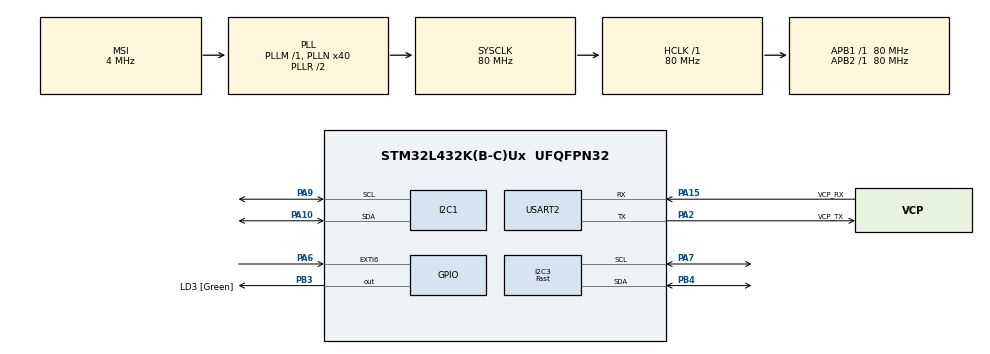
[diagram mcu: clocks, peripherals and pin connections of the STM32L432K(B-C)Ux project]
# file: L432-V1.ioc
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FREERTOS.Mutexes01=i2c1_mutex,Dynamic,NULL;i2c3_mutex,Dynamic,NULL
FREERTOS.Tasks01=screenTask,-2,128,StartScreenTask,Default,NULL,Dynamic,NULL,NULL;inputTask,0,128,StartInputTask,Default,NULL,Dynamic,NULL,NULL
FREERTOS.configENABLE_BACKWARD_COMPATIBILITY=0
FREERTOS.configMAX_PRIORITIES=5
FREERTOS.configUSE_PREEMPTION=0
I2C3.I2C_Speed_Mode=I2C_Fast
I2C3.Timing=0x00702991
Mcu.Family=STM32L4
Mcu.Name=STM32L432K(B-C)Ux
Mcu.Package=UFQFPN32
NVIC.EXTI9_5_IRQn=true\:5\:0\:false\:false\:true\:true\:true\:true
NVIC.PriorityGroup=NVIC_PRIORITYGROUP_4
NVIC.TIM1_UP_TIM16_IRQn=true\:0\:0\:false\:false\:true\:false\:false\:true
NVIC.TimeBase=TIM1_UP_TIM16_IRQn
NVIC.TimeBaseIP=TIM16
PA0.GPIO_Label=MCO [High speed clock in]
PA0.Mode=HSE-External-Clock-Source-for-LittleOrca
PA0.Signal=RCC_CK_IN
PA10.Mode=I2C
PA10.Signal=I2C1_SDA
PA13\ (JTMS-SWDIO).GPIO_Label=SWDIO
PA13\ (JTMS-SWDIO).Mode=Serial_Wire
PA13\ (JTMS-SWDIO).Signal=SYS_JTMS-SWDIO
PA14\ (JTCK-SWCLK).GPIO_Label=SWCLK
PA14\ (JTCK-SWCLK).Mode=Serial_Wire
PA14\ (JTCK-SWCLK).Signal=SYS_JTCK-SWCLK
PA15\ (JTDI).GPIO_Label=VCP_RX
PA15\ (JTDI).Mode=Asynchronous
PA15\ (JTDI).Signal=USART2_RX
PA2.GPIO_Label=VCP_TX
PA2.Mode=Asynchronous
PA2.Signal=USART2_TX
PA6.GPIO_ModeDefaultEXTI=GPIO_MODE_IT_FALLING
PA6.Signal=GPXTI6
PA7.Mode=I2C
PA7.Signal=I2C3_SCL
PA9.Mode=I2C
PA9.Signal=I2C1_SCL
PB3\ (JTDO-TRACESWO).GPIO_Label=LD3 [Green]
PB3\ (JTDO-TRACESWO).Signal=GPIO_Output
PB4\ (NJTRST).Mode=I2C
PB4\ (NJTRST).Signal=I2C3_SDA
PC14-OSC32_IN\ (PC14).Mode=LSE-External-Oscillator
PC14-OSC32_IN\ (PC14).Signal=RCC_OSC32_IN
PC15-OSC32_OUT\ (PC15).Mode=LSE-External-Oscillator
PC15-OSC32_OUT\ (PC15).Signal=RCC_OSC32_OUT
ProjectManager.HeapSize=0x200
ProjectManager.StackSize=0x400
ProjectManager.TargetToolchain=Other Toolchains (GPDSC)
RCC.AHBFreq_Value=80000000
RCC.APB1Freq_Value=80000000
RCC.APB1TimFreq_Value=80000000
RCC.APB2Freq_Value=80000000
RCC.APB2TimFreq_Value=80000000
RCC.CortexFreq_Value=80000000
RCC.HCLKFreq_Value=80000000
RCC.HSE_VALUE=8000000
RCC.HSI16_VALUE=16000000
RCC.HSI48_VALUE=48000000
RCC.HSI_VALUE=16000000
RCC.MSI_VALUE=4000000
RCC.PLLMUL=RCC_PLLMUL_4
RCC.PLLN=40
RCC.SYSCLKFreq_VALUE=80000000
RCC.SYSCLKSource=RCC_SYSCLKSOURCE_PLLCLK
RCC.VCOOutputFreq_Value=160000000
USART2.VirtualMode-Asynchronous=VM_ASYNC
VP_FREERTOS_VS_CMSIS_V1.Mode=CMSIS_V1
VP_SYS_VS_tim16.Mode=TIM16
board=NUCLEO-L432KC

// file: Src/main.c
/* USER CODE BEGIN Header */
/**
  ******************************************************************************
  * @file           : main.c
  * @brief          : Main program body
  ******************************************************************************
  * @attention
  *
  * <h2><center>&copy; Copyright (c) 2019 STMicroelectronics.
  * All rights reserved.</center></h2>
  *
  * This software component is licensed by ST under BSD 3-Clause license,
  * the "License"; You may not use this file except in compliance with the
  * License. You may obtain a copy of the License at:
  *                        opensource.org/licenses/BSD-3-Clause
  *
  ******************************************************************************
  */
/* USER CODE END Header */

#include "main.h"
#include "cmsis_os.h"
#include "i2c.h"
#include "usart.h"
#include "gpio.h"

/* USER CODE BEGIN Includes */
#include "data.h"
#include "screen.h"
#include "mcp23017.h"
#include "input.h"
#include<stdio.h>
/* USER CODE END Includes */

/* USER CODE BEGIN PV */
SCOPE_t scopeData;
CURRENT_DATA_t currentData;
CURRENT_DATA_t setData;

MCP23017_HandleTypeDef hmcp_input;
/* USER CODE END PV */

void SystemClock_Config(void);
void MX_FREERTOS_Init(void);

int main(void)
{

  /* MCU Configuration--------------------------------------------------------*/

  /* Reset of all peripherals, Initializes the Flash interface and the Systick. */
  HAL_Init();

  /* Configure the system clock */
  SystemClock_Config();

  /* Initialize all configured peripherals */
  MX_GPIO_Init();
  MX_I2C1_Init();
  MX_I2C3_Init();
  MX_USART2_UART_Init();
  /* USER CODE BEGIN 2 */
	data_Init();
	screen_init();
	input_init();

  /* USER CODE END 2 */

  /* Call init function for freertos objects (in freertos.c) */
  MX_FREERTOS_Init();

  /* Start scheduler */
  osKernelStart();

  /* We should never get here as control is now taken by the scheduler */

  /* Infinite loop */
	while (1)
	{

	 }
}

void SystemClock_Config(void)
{
  RCC_OscInitTypeDef RCC_OscInitStruct = {0};
  RCC_ClkInitTypeDef RCC_ClkInitStruct = {0};
  RCC_PeriphCLKInitTypeDef PeriphClkInit = {0};

  /** Configure LSE Drive Capability
  */
  HAL_PWR_EnableBkUpAccess();
  __HAL_RCC_LSEDRIVE_CONFIG(RCC_LSEDRIVE_LOW);
  /** Initializes the CPU, AHB and APB busses clocks
  */
  RCC_OscInitStruct.OscillatorType = RCC_OSCILLATORTYPE_LSE|RCC_OSCILLATORTYPE_MSI;
  RCC_OscInitStruct.LSEState = RCC_LSE_ON;
  RCC_OscInitStruct.MSIState = RCC_MSI_ON;
  RCC_OscInitStruct.MSICalibrationValue = 0;
  RCC_OscInitStruct.MSIClockRange = RCC_MSIRANGE_6;
  RCC_OscInitStruct.PLL.PLLState = RCC_PLL_ON;
  RCC_OscInitStruct.PLL.PLLSource = RCC_PLLSOURCE_MSI;
  RCC_OscInitStruct.PLL.PLLM = 1;
  RCC_OscInitStruct.PLL.PLLN = 40;
  RCC_OscInitStruct.PLL.PLLP = RCC_PLLP_DIV7;
  RCC_OscInitStruct.PLL.PLLQ = RCC_PLLQ_DIV2;
  RCC_OscInitStruct.PLL.PLLR = RCC_PLLR_DIV2;
  if (HAL_RCC_OscConfig(&RCC_OscInitStruct) != HAL_OK)
  {
    Error_Handler();
  }
  /** Initializes the CPU, AHB and APB busses clocks
  */
  RCC_ClkInitStruct.ClockType = RCC_CLOCKTYPE_HCLK|RCC_CLOCKTYPE_SYSCLK
                              |RCC_CLOCKTYPE_PCLK1|RCC_CLOCKTYPE_PCLK2;
  RCC_ClkInitStruct.SYSCLKSource = RCC_SYSCLKSOURCE_PLLCLK;
  RCC_ClkInitStruct.AHBCLKDivider = RCC_SYSCLK_DIV1;
  RCC_ClkInitStruct.APB1CLKDivider = RCC_HCLK_DIV1;
  RCC_ClkInitStruct.APB2CLKDivider = RCC_HCLK_DIV1;

  if (HAL_RCC_ClockConfig(&RCC_ClkInitStruct, FLASH_LATENCY_4) != HAL_OK)
  {
    Error_Handler();
  }
  PeriphClkInit.PeriphClockSelection = RCC_PERIPHCLK_USART2|RCC_PERIPHCLK_I2C1
                              |RCC_PERIPHCLK_I2C3;
  PeriphClkInit.Usart2ClockSelection = RCC_USART2CLKSOURCE_PCLK1;
  PeriphClkInit.I2c1ClockSelection = RCC_I2C1CLKSOURCE_PCLK1;
  PeriphClkInit.I2c3ClockSelection = RCC_I2C3CLKSOURCE_PCLK1;
  if (HAL_RCCEx_PeriphCLKConfig(&PeriphClkInit) != HAL_OK)
  {
    Error_Handler();
  }
  /** Configure the main internal regulator output voltage
  */
  if (HAL_PWREx_ControlVoltageScaling(PWR_REGULATOR_VOLTAGE_SCALE1) != HAL_OK)
  {
    Error_Handler();
  }
  /** Enable MSI Auto calibration
  */
  HAL_RCCEx_EnableMSIPLLMode();
}

/* USER CODE BEGIN 4 */
void HAL_GPIO_EXTI_Callback(uint16_t GPIO_Pin)
{
	if (GPIO_Pin == GPIO_PIN_6) {
		HAL_GPIO_TogglePin(LD3_GPIO_Port, LD3_Pin);
		osSignalSet(inputTaskHandle, 1);
	}
}
/* USER CODE END 4 */

void HAL_TIM_PeriodElapsedCallback(TIM_HandleTypeDef *htim)
{
  if (htim->Instance == TIM16) {
    HAL_IncTick();
  }
}

void Error_Handler(void)
{
}

/************************ (C) COPYRIGHT STMicroelectronics *****END OF FILE****/

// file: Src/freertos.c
/* USER CODE BEGIN Header */
/**
  ******************************************************************************
  * File Name          : freertos.c
  * Description        : Code for freertos applications
  ******************************************************************************
  * @attention
  *
  * <h2><center>&copy; Copyright (c) 2019 STMicroelectronics.
  * All rights reserved.</center></h2>
  *
  * This software component is licensed by ST under Ultimate Liberty license
  * SLA0044, the "License"; You may not use this file except in compliance with
  * the License. You may obtain a copy of the License at:
  *                             www.st.com/SLA0044
  *
  ******************************************************************************
  */
/* USER CODE END Header */

#include "FreeRTOS.h"
#include "task.h"
#include "main.h"
#include "cmsis_os.h"

/* USER CODE BEGIN Includes */
#include "data.h"
#include "screen.h"
#include "mcp23017.h"
#include "input.h"
#include "mapper.h"

/* USER CODE END Includes */

osThreadId screenTaskHandle;
osThreadId inputTaskHandle;
osMutexId i2c1_mutexHandle;
osMutexId i2c3_mutexHandle;

void StartScreenTask(void const * argument);
void StartInputTask(void const * argument);

void MX_FREERTOS_Init(void); /* (MISRA C 2004 rule 8.1) */

/* GetIdleTaskMemory prototype (linked to static allocation support) */
void vApplicationGetIdleTaskMemory(StaticTask_t **ppxIdleTaskTCBBuffer, StackType_t **ppxIdleTaskStackBuffer, uint32_t *pulIdleTaskStackSize);

/* USER CODE BEGIN GET_IDLE_TASK_MEMORY */
static StaticTask_t xIdleTaskTCBBuffer;
static StackType_t xIdleStack[configMINIMAL_STACK_SIZE];

void vApplicationGetIdleTaskMemory(StaticTask_t **ppxIdleTaskTCBBuffer, StackType_t **ppxIdleTaskStackBuffer, uint32_t *pulIdleTaskStackSize)
{
	*ppxIdleTaskTCBBuffer = &xIdleTaskTCBBuffer;
	*ppxIdleTaskStackBuffer = &xIdleStack[0];
	*pulIdleTaskStackSize = configMINIMAL_STACK_SIZE;
	/* place for user code */
}
/* USER CODE END GET_IDLE_TASK_MEMORY */

void MX_FREERTOS_Init(void) {

	/* Create the mutex(es) */
	/* definition and creation of i2c1_mutex */
	osMutexDef(i2c1_mutex);
	i2c1_mutexHandle = osMutexCreate(osMutex(i2c1_mutex));

	/* definition and creation of i2c3_mutex */
	osMutexDef(i2c3_mutex);
	i2c3_mutexHandle = osMutexCreate(osMutex(i2c3_mutex));

	/* Create the thread(s) */
	/* definition and creation of screenTask */
	osThreadDef(screenTask, StartScreenTask, osPriorityLow, 0, 128);
	screenTaskHandle = osThreadCreate(osThread(screenTask), NULL);

	/* definition and creation of inputTask */
	osThreadDef(inputTask, StartInputTask, osPriorityNormal, 0, 128);
	inputTaskHandle = osThreadCreate(osThread(inputTask), NULL);

}

void StartScreenTask(void const * argument)
{
	/* USER CODE BEGIN StartScreenTask */
	//osEvent evt;
	/* Infinite loop */
	for (;;)
	{
		osSignalWait(1, 1000);
		if (osMutexWait(i2c3_mutexHandle, osWaitForever) == osOK) {
			screen_draw(&currentData, &scopeData);
			osMutexRelease(i2c3_mutexHandle);
		}
		osDelay(1);
	}
	/* USER CODE END StartScreenTask */
}

void StartInputTask(void const * argument)
{
	/* USER CODE BEGIN StartInputTask */
	osEvent evt;
	/* Infinite loop */
	for (;;)
	{
		evt = osSignalWait(1, 5000);
		if (osMutexWait(i2c1_mutexHandle, osWaitForever) == osOK) {
			input_read();
			osMutexRelease(i2c1_mutexHandle);

			map_input();
			osSignalSet(screenTaskHandle, 1);
		}

	}
	/* USER CODE END StartInputTask */
}

/************************ (C) COPYRIGHT STMicroelectronics *****END OF FILE****/
